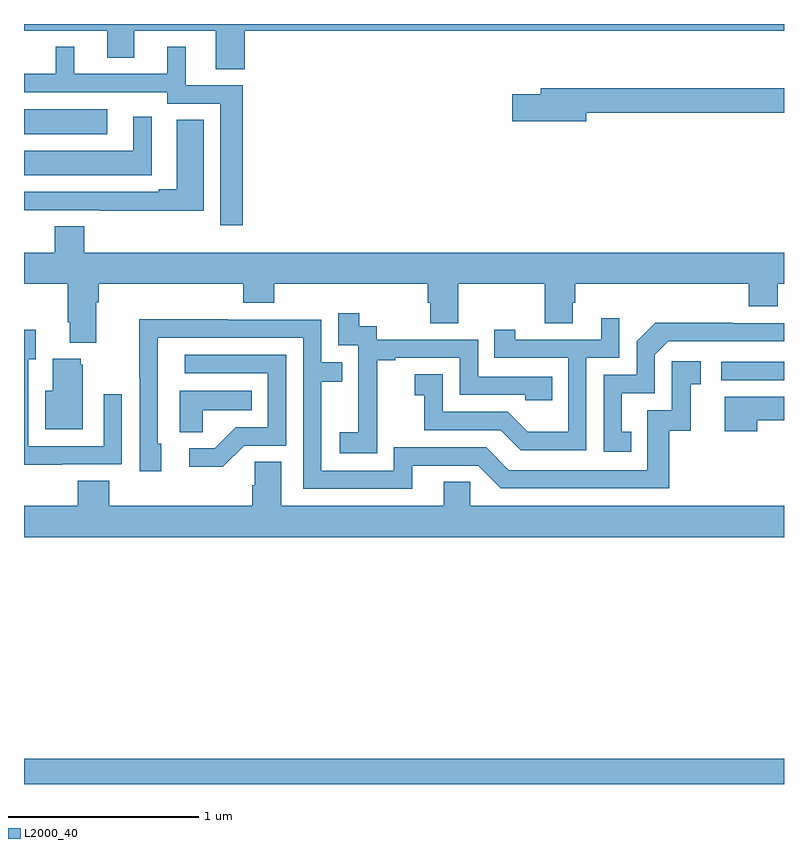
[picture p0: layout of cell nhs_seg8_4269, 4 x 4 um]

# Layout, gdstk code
import gdstk
lib = gdstk.Library(unit=1e-6, precision=1e-09)
def R(c, l, rs):  # rectangles x0, y0, x1, y1
    for r in rs: c.add(gdstk.rectangle(r[:2], r[2:], *l))
def P(c, l, *ps):  # polygons
    for p in ps: c.add(gdstk.Polygon(p, *l))
L2000_40 = (2000, 40)

nhs_seg8_4269 = lib.new_cell('nhs_seg8_4269')
R(nhs_seg8_4269, L2000_40, [(373,1081.9,377,1082.032), (376.671,1084.026,377,1084.122), (373,1085.321,373.438,1085.452)])
P(nhs_seg8_4269, L2000_40, [(374.162,1085.864),(377,1085.864),(377,1085.9),(373,1085.9),(373,1085.864),(373.439,1085.864),(373.439,1085.722),(373.579,1085.722),(373.579,1085.864),(374.009,1085.864),(374.009,1085.662),(374.162,1085.662)],
  [(374.15,1085.577),(373.852,1085.577),(373.852,1085.779),(373.754,1085.779),(373.754,1085.637),(373.264,1085.637),(373.264,1085.779),(373.166,1085.779),(373.166,1085.637),(373,1085.637),(373,1085.541),(373.755,1085.541),(373.755,1085.481),(374.034,1085.481),(374.034,1084.842),(374.15,1084.842)],
  [(375.958,1085.434),(377,1085.434),(377,1085.563),(375.719,1085.563),(375.719,1085.529),(375.57,1085.529),(375.57,1085.387),(375.958,1085.387)],
  [(373.672,1085.413),(373.574,1085.413),(373.574,1085.233),(373,1085.233),(373,1085.105),(373.672,1085.105)],
  [(373.945,1085.395),(373.805,1085.395),(373.805,1085.029),(373.709,1085.029),(373.709,1085.016),(373,1085.016),(373,1084.92),(373.399,1084.92),(373.399,1084.918),(373.945,1084.918)],
  [(373.381,1084.436),(373.394,1084.436),(373.394,1084.532),(374.153,1084.532),(374.153,1084.433),(374.318,1084.433),(374.318,1084.532),(375.125,1084.532),(375.125,1084.434),(375.137,1084.434),(375.137,1084.324),(375.285,1084.324),(375.285,1084.532),(375.742,1084.532),(375.742,1084.324),(375.889,1084.324),(375.889,1084.434),(375.902,1084.434),(375.902,1084.532),(376.814,1084.532),(376.814,1084.415),(376.966,1084.415),(376.966,1084.532),(377,1084.532),(377,1084.696),(373.316,1084.696),(373.316,1084.835),(373.163,1084.835),(373.163,1084.696),(373,1084.696),(373,1084.532),(373.229,1084.532),(373.229,1084.33),(373.241,1084.33),(373.241,1084.223),(373.381,1084.223)],
  [(374.859,1083.847),(374.858,1083.847),(374.858,1084.131),(374.953,1084.131),(374.953,1084.143),(375.294,1084.143),(375.294,1083.948),(375.639,1083.948),(375.639,1083.921),(375.779,1083.921),(375.779,1084.044),(375.39,1084.044),(375.39,1084.239),(374.856,1084.239),(374.856,1084.308),(374.764,1084.308),(374.764,1084.378),(374.655,1084.378),(374.655,1084.209),(374.76,1084.209),(374.76,1083.98),(374.759,1083.98),(374.759,1083.751),(374.661,1083.751),(374.661,1083.641),(374.859,1083.641)],
  [(375.96,1084.143),(376.134,1084.143),(376.134,1084.351),(376.037,1084.351),(376.037,1084.239),(375.586,1084.239),(375.586,1084.291),(375.475,1084.291),(375.475,1084.143),(375.864,1084.143),(375.864,1083.754),(375.65,1083.754),(375.546,1083.858),(375.204,1083.858),(375.204,1084.057),(375.057,1084.057),(375.057,1083.947),(375.106,1083.947),(375.106,1083.762),(375.509,1083.762),(375.614,1083.657),(375.96,1083.657)],
  [(375.043,1083.576),(375.39,1083.576),(375.51,1083.456),(376.397,1083.456),(376.397,1083.759),(376.508,1083.759),(376.508,1084.005),(376.561,1084.005),(376.561,1084.126),(376.41,1084.126),(376.41,1083.867),(376.281,1083.867),(376.281,1083.552),(375.552,1083.552),(375.432,1083.672),(374.946,1083.672),(374.946,1083.549),(374.565,1083.549),(374.565,1084.018),(374.675,1084.018),(374.675,1084.119),(374.565,1084.119),(374.565,1084.344),(374.069,1084.344),(374.069,1084.346),(373.606,1084.346),(373.606,1084.039),(373.608,1084.039),(373.608,1083.546),(373.723,1083.546),(373.723,1083.69),(373.704,1083.69),(373.704,1084.248),(374.469,1084.248),(374.469,1083.453),(375.043,1083.453)],
  [(376.196,1083.753),(376.147,1083.753),(376.147,1083.957),(376.32,1083.957),(376.32,1084.158),(376.392,1084.23),(377,1084.23),(377,1084.326),(376.73,1084.326),(376.73,1084.328),(376.322,1084.328),(376.224,1084.23),(376.224,1084.053),(376.05,1084.053),(376.05,1083.648),(376.196,1083.648)],
  [(373.199,1083.582),(373.515,1083.582),(373.515,1083.952),(373.419,1083.952),(373.419,1083.678),(373.023,1083.678),(373.023,1084.135),(373.063,1084.135),(373.063,1084.291),(373,1084.291),(373,1083.581),(373.199,1083.581)],
  [(374.16,1083.681),(374.379,1083.681),(374.379,1084.158),(373.845,1084.158),(373.845,1084.062),(374.283,1084.062),(374.283,1083.777),(374.114,1083.777),(374.003,1083.666),(373.869,1083.666),(373.869,1083.569),(374.047,1083.569)],
  [(373.309,1084.107),(373.298,1084.107),(373.298,1084.138),(373.151,1084.138),(373.151,1083.97),(373.112,1083.97),(373.112,1083.767),(373.309,1083.767)],
  [(373.941,1083.866),(374.198,1083.866),(374.198,1083.97),(373.82,1083.97),(373.82,1083.751),(373.941,1083.751)],
  [(376.859,1083.815),(377,1083.815),(377,1083.937),(376.688,1083.937),(376.688,1083.756),(376.859,1083.756)],
  [(377,1083.364),(375.348,1083.364),(375.348,1083.491),(375.209,1083.491),(375.209,1083.364),(374.353,1083.364),(374.353,1083.596),(374.214,1083.596),(374.214,1083.473),(374.201,1083.473),(374.201,1083.364),(373.448,1083.364),(373.448,1083.497),(373.283,1083.497),(373.283,1083.364),(373,1083.364),(373,1083.2),(377,1083.2)])

lib.write_gds('nhs_seg8_4269.gds')
